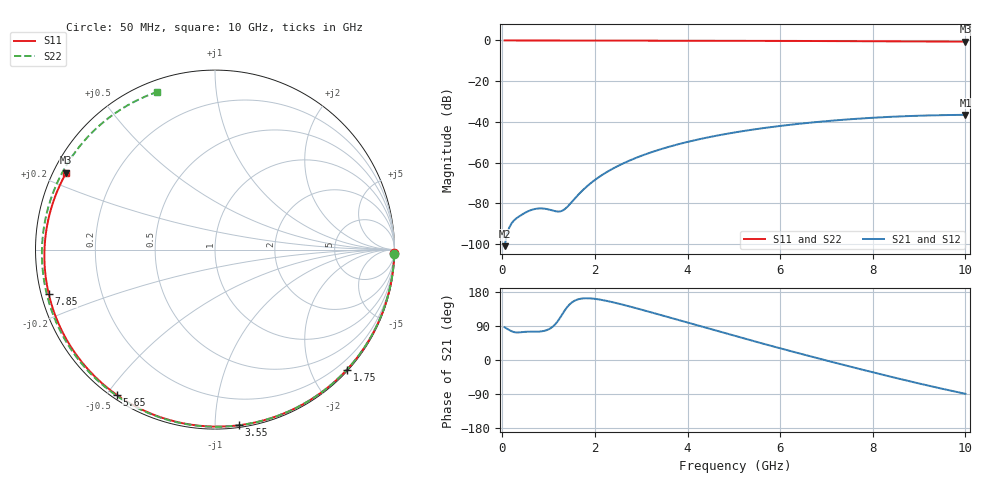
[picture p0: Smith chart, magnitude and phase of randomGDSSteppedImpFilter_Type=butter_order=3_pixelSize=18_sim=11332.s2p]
! freq	dB(S11)	phase(S11)	dB(S12)	phase(S12)
!  dB(S21)	phase(S21)	dB(S22)	phase(S22)
!S-par simulation data
#  GHz  S  DB  R 50
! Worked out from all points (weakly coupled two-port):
!   200 points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, 50 MHz to 10 GHz, reference 50 ohm
!   highest |S21| = -36.56 dB at 10 GHz (marker M1); lowest = -101.1 dB at 50 MHz (marker M2)
!   lowest |S11| = -0.6 dB at 10 GHz (marker M3), VSWR 28.80, Z = 1.84 + j12.1 ohm
!   |S11| at or under -10 dB: nowhere
!   |S22| runs from -0.6 to 0.0 dB; largest |S21 - S12| = 0
!   S11 on the Smith chart (normalised r, x): 50 MHz: 1, -96; 1.75 GHz: 0.02, -2.59; 3.55 GHz: 0.01, -1.14; 5.65 GHz: 0.01, -0.53; 7.85 GHz: 0.02, -0.13; 10 GHz: 0.04, +0.24
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0.05  -0.00 -1.2  -101.10 86.3  -101.10 86.3  -0.00 -1.5
0.4  -0.02 -9.8  -85.94 73.2  -85.94 73.2  -0.02 -12.7
0.7  -0.02 -17.1  -82.86 74.6  -82.86 74.6  -0.03 -22.1
1.05  -0.03 -25.6  -83.34 84.4  -83.34 84.4  -0.04 -32.9
1.45  -0.04 -35.2  -80.66 146.3  -80.66 146.3  -0.06 -45.1
1.5  -0.05 -36.4  -79.38 151.7  -79.38 151.7  -0.06 -46.6
1.75  -0.05 -42.2  -73.32 162.6  -73.32 162.6  -0.07 -53.9
2.05  -0.06 -49.2  -67.73 160.5  -67.73 160.5  -0.08 -62.6
2.45  -0.07 -58.3  -62.23 150.6  -62.23 150.6  -0.09 -73.8
2.9  -0.09 -68.3  -57.60 136.4  -57.60 136.4  -0.11 -86.0
3.4  -0.10 -79.1  -53.61 119.4  -53.61 119.4  -0.12 -98.9
3.55  -0.11 -82.3  -52.58 114.3  -52.58 114.3  -0.13 -102.6
4.25  -0.13 -96.7  -48.56 90.0  -48.56 90.0  -0.16 -119.6
5.05  -0.17 -112.6  -45.08 62.6  -45.08 62.6  -0.19 -138.0
5.65  -0.20 -124.1  -43.04 42.4  -43.04 42.4  -0.23 -151.3
6.2  -0.23 -134.5  -41.48 24.3  -41.48 24.3  -0.26 -163.2
6.7  -0.27 -143.8  -40.28 8.2  -40.28 8.2  -0.30 -174.0
7.3  -0.32 -154.9  -39.09 -10.8  -39.09 -10.8  -0.34 173.0
7.85  -0.37 -165.1  -38.20 -27.8  -38.20 -27.8  -0.39 160.9
8.35  -0.42 -174.6  -37.57 -43.0  -37.57 -43.0  -0.43 149.7
9.15  -0.50 170.0  -36.89 -66.2  -36.89 -66.2  -0.50 131.1
10  -0.60 152.7  -36.56 -89.2  -36.56 -89.2  -0.58 110.2
